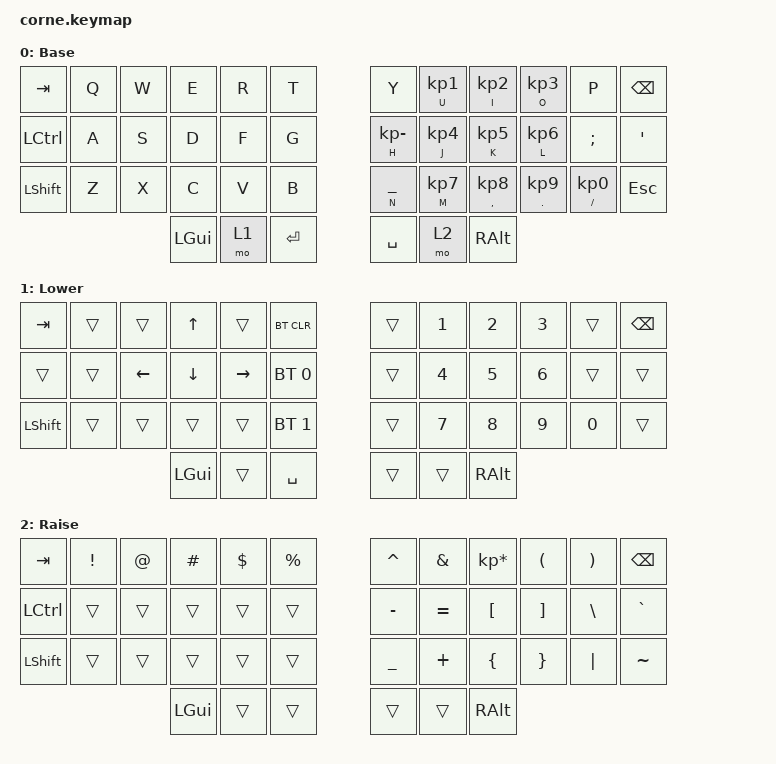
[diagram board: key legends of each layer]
/*
 * Copyright (c) 2020 The ZMK Contributors
 *
 * SPDX-License-Identifier: MIT
 */

#include <behaviors.dtsi>
#include <dt-bindings/zmk/bt.h>
#include <dt-bindings/zmk/keys.h>

/ {
    keymap {
        compatible = "zmk,keymap";

        default_layer {
            // -----------------------------------------------------------------------------------------
            // |  TAB |  Q  |  W  |  E  |  R  |  T  |   |  Y  |  U   |  I  |  O  |  P  | BKSP |
            // | CTRL |  A  |  S  |  D  |  F  |  G  |   |  H  |  J   |  K  |  L  |  ;  |  '   |
            // | SHFT |  Z  |  X  |  C  |  V  |  B  |   |  N  |  M   |  ,  |  .  |  /  | ESC  |
            //                    | GUI | LWR | SPC |   | ENT | RSE  | ALT |

            label = "Base";
            bindings = <
&kp TAB    &kp Q  &kp W  &kp E     &kp R  &kp T        &kp Y             &mt U KP_NUMBER_1  &mt I KP_NUMBER_2      &mt O KP_NUMBER_3       &kp P                  &kp BSPC
&kp LCTRL  &kp A  &kp S  &kp D     &kp F  &kp G        &mt H KP_MINUS    &mt J KP_N4        &mt K KP_NUMBER_5      &mt L KP_NUMBER_6       &kp SEMI               &kp SQT
&kp LSHFT  &kp Z  &kp X  &kp C     &kp V  &kp B        &mt N UNDERSCORE  &mt M KP_NUMBER_7  &mt COMMA KP_NUMBER_8  &mt PERIOD KP_NUMBER_9  &mt SLASH KP_NUMBER_0  &kp ESC
                         &kp LGUI  &mo 1  &kp ENTER    &kp SPACE         &mo 2              &kp RALT
            >;
        };

        lower_layer {
            // -----------------------------------------------------------------------------------------
            // |  TAB |  1  |  2  |  3  |  4  |  5  |   |  6  |  7  |  8  |  9  |  0  | BKSP |
            // | BTCLR| BT1 | BT2 | BT3 | BT4 | BT5 |   | LFT | DWN |  UP | RGT |     |      |
            // | SHFT |     |     |     |     |     |   |     |     |     |     |     |      |
            //                    | GUI |     | SPC |   | ENT |     | ALT |

            label = "Lower";
            bindings = <
&kp TAB    &trans  &trans          &kp UP_ARROW    &trans           &bt BT_CLR      &trans  &kp N1  &kp N2    &kp N3  &trans  &kp BSPC
&trans     &trans  &kp LEFT_ARROW  &kp DOWN_ARROW  &kp RIGHT_ARROW  &bt BT_SEL 0    &trans  &kp N4  &kp N5    &kp N6  &trans  &trans
&kp LSHFT  &trans  &trans          &trans          &trans           &bt BT_SEL 1    &trans  &kp N7  &kp N8    &kp N9  &kp N0  &trans
                                   &kp LGUI        &trans           &kp SPACE       &trans  &trans  &kp RALT
            >;
        };

        raise_layer {
            // -----------------------------------------------------------------------------------------
            // |  TAB |  !  |  @  |  #  |  $  |  %  |   |  ^  |  &  |  *  |  (  |  )  | BKSP |
            // | CTRL |     |     |     |     |     |   |  -  |  =  |  [  |  ]  |  \  |  `   |
            // | SHFT |     |     |     |     |     |   |  _  |  +  |  {  |  }  | "|" |  ~   |
            //                    | GUI |     | SPC |   | ENT |     | ALT |

            label = "Raise";
            bindings = <
&kp TAB    &kp EXCL  &kp AT  &kp HASH  &kp DLLR  &kp PRCNT    &kp CARET  &kp AMPS   &kp KP_MULTIPLY  &kp LPAR  &kp RPAR  &kp BSPC
&kp LCTRL  &trans    &trans  &trans    &trans    &trans       &kp MINUS  &kp EQUAL  &kp LBKT         &kp RBKT  &kp BSLH  &kp GRAVE
&kp LSHFT  &trans    &trans  &trans    &trans    &trans       &kp UNDER  &kp PLUS   &kp LBRC         &kp RBRC  &kp PIPE  &kp TILDE
                             &kp LGUI  &trans    &trans       &trans     &trans     &kp RALT
            >;
        };
    };
};
